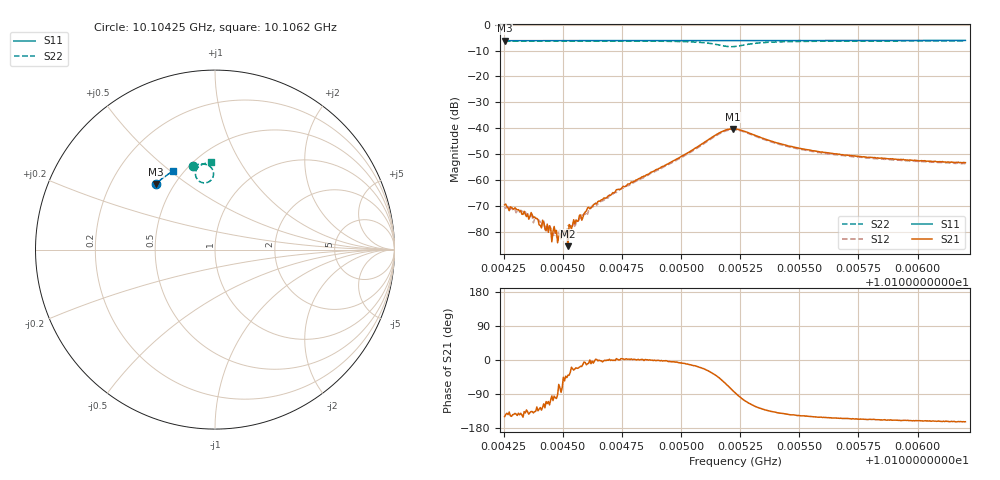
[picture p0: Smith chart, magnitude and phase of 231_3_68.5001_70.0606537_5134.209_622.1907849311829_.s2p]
#  HZ  S  RI  R  50.00
! Rohde & Schwarz Vector Network Analyzer
! Rohde-Schwarz,ZNB20-2Port,1311601062101988,3.16
! Created: UTC 3/20/2024, 5:14:04 PM
! freq[Hz]  re:S11  im:S11  re:S21  im:S21  re:S12  im:S12  re:S22  im:S22
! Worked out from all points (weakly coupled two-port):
!   401 points, 10.10425 GHz to 10.1062 GHz, reference 50 ohm
!   highest |S21| = -40.29 dB at 10.10522 GHz (marker M1); lowest = -85.6 dB at 10.10452 GHz (marker M2)
!   lowest |S11| = -6.2 dB at 10.10425 GHz (marker M3), VSWR 2.93, Z = 20 + j19.3 ohm
!   |S11| at or under -10 dB: nowhere
!   |S22| runs from -8.5 to -6.3 dB; largest |S21 - S12| = 0.0011
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1.0104254e10  -0.3281 0.3658  -0.000283 -0.000167  -0.000213 -0.000206  -0.1208 0.4684
1.0104332e10  -0.3246 0.3692  -0.000188 -0.000106  -0.000175 -0.000161  -0.115 0.47
1.0104352e10  -0.3238 0.37  -0.00016 -0.00015  -0.000161 -0.000153  -0.1134 0.4703
1.0104376e10  -0.3227 0.371  -0.000142 -0.000121  -9.6e-05 -0.000113  -0.1117 0.4707
1.01044e10  -0.3218 0.3721  -8.67e-05 -0.000104  -0.000103 -0.00013  -0.1098 0.4714
1.0104459e10  -0.3191 0.3746  -2.96e-05 -9.68e-05  2.6e-06 -9.16e-05  -0.1053 0.4725
1.0104512e10  -0.3166 0.3767  7.17e-05 -6.62e-05  4.92e-05 -6.58e-05  -0.101 0.4731
1.0104522e10  -0.3162 0.3771  4e-05 -3.38e-05  9.79e-05 -8.67e-05  -0.1002 0.4735
1.0104561e10  -0.3145 0.3788  0.000146 -5.94e-05  0.000168 -3.87e-05  -0.0969 0.4739
1.0104581e10  -0.3135 0.3794  0.000159 -4.91e-05  0.000214 -2.27e-05  -0.0952 0.4744
1.010459e10  -0.313 0.3799  0.000222 -2.01e-05  0.000218 -2.43e-05  -0.0943 0.4745
1.01046e10  -0.3127 0.3803  0.000245 -5.53e-05  0.000239 -1.75e-05  -0.0936 0.4746
1.0104644e10  -0.3107 0.382  0.000348 8.12e-06  0.000324 6.77e-06  -0.0895 0.4753
1.0104741e10  -0.3062 0.3861  0.000656 4.23e-06  0.000638 9.01e-05  -0.0798 0.4765
1.0104907e10  -0.2983 0.3927  0.00167 -3.33e-05  0.00159 0.000114  -0.0587 0.4759
1.010516e10  -0.2859 0.4017  0.00553 -0.0058  0.00582 -0.00504  -0.0106 0.406
1.0105219e10  -0.2835 0.4035  0.00157 -0.00954  0.00247 -0.00904  -0.0586 0.3716
1.0105228e10  -0.2831 0.4037  0.000567 -0.00959  0.00154 -0.00919  -0.0695 0.3729
1.0105404e10  -0.2752 0.4106  -0.00392 -0.00346  -0.00347 -0.00367  -0.0979 0.4543
1.0105555e10  -0.2676 0.4161  -0.00317 -0.00185  -0.00286 -0.00207  -0.0765 0.472
1.0105881e10  -0.2512 0.4272  -0.00237 -0.000927  -0.00218 -0.00113  -0.0446 0.4827
1.0106202e10  -0.2345 0.4374  -0.00206 -0.000635  -0.0019 -0.000793  -0.0199 0.4864
